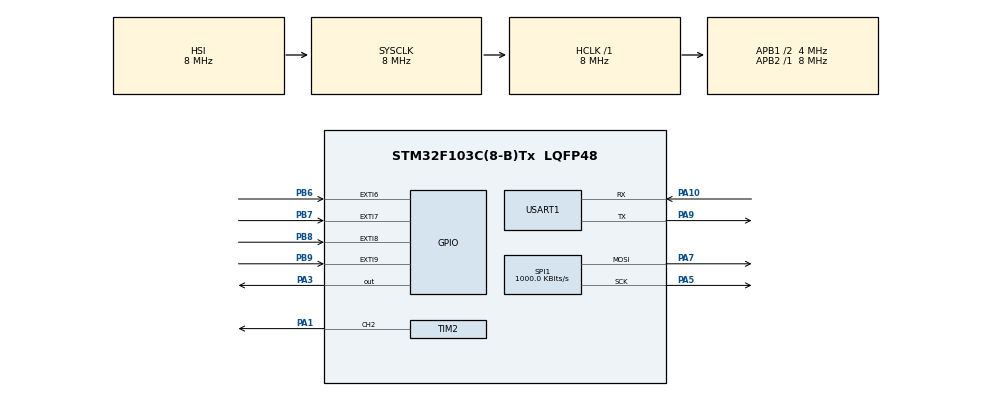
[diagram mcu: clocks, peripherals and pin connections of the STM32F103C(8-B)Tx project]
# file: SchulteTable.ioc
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Mcu.Family=STM32F1
Mcu.Name=STM32F103C(8-B)Tx
Mcu.Package=LQFP48
NVIC.EXTI9_5_IRQn=true\:1\:0\:true\:false\:true\:true\:true\:true
NVIC.PriorityGroup=NVIC_PRIORITYGROUP_4
NVIC.TIM2_IRQn=true\:0\:0\:false\:false\:true\:true\:true\:true
PA1.Signal=S_TIM2_CH2
PA10.Mode=Asynchronous
PA10.Signal=USART1_RX
PA3.Signal=GPIO_Output
PA5.Mode=TX_Only_Simplex_Unidirect_Master
PA5.Signal=SPI1_SCK
PA7.Mode=TX_Only_Simplex_Unidirect_Master
PA7.Signal=SPI1_MOSI
PA9.Mode=Asynchronous
PA9.Signal=USART1_TX
PB6.GPIO_ModeDefaultEXTI=GPIO_MODE_IT_FALLING
PB6.GPIO_PuPd=GPIO_PULLUP
PB6.Signal=GPXTI6
PB7.GPIO_ModeDefaultEXTI=GPIO_MODE_IT_FALLING
PB7.GPIO_PuPd=GPIO_PULLUP
PB7.Signal=GPXTI7
PB8.GPIO_ModeDefaultEXTI=GPIO_MODE_IT_FALLING
PB8.GPIO_PuPd=GPIO_PULLUP
PB8.Signal=GPXTI8
PB9.GPIO_ModeDefaultEXTI=GPIO_MODE_IT_FALLING
PB9.GPIO_PuPd=GPIO_PULLUP
PB9.Signal=GPXTI9
PD0-OSC_IN.Mode=HSE-External-Oscillator
PD0-OSC_IN.Signal=RCC_OSC_IN
PD1-OSC_OUT.Mode=HSE-External-Oscillator
PD1-OSC_OUT.Signal=RCC_OSC_OUT
ProjectManager.HeapSize=0x200
ProjectManager.StackSize=0x400
ProjectManager.TargetToolchain=STM32CubeIDE
RCC.AHBFreq_Value=8000000
RCC.APB1CLKDivider=RCC_HCLK_DIV2
RCC.APB1Freq_Value=4000000
RCC.APB1TimFreq_Value=8000000
RCC.APB2Freq_Value=8000000
RCC.APB2TimFreq_Value=8000000
RCC.HCLKFreq_Value=8000000
RCC.SYSCLKFreq_VALUE=8000000
RCC.USBFreq_Value=8000000
SH.S_TIM2_CH2.0=TIM2_CH2,PWM Generation2 CH2
SPI1.BaudRatePrescaler=SPI_BAUDRATEPRESCALER_8
SPI1.CalculateBaudRate=1000.0 KBits/s
SPI1.Direction=SPI_DIRECTION_2LINES
SPI1.Mode=SPI_MODE_MASTER
SPI1.VirtualType=VM_MASTER
TIM2.Channel-PWM\ Generation2\ CH2=TIM_CHANNEL_2
TIM2.Period=127
TIM2.Prescaler=127
TIM2.Pulse-PWM\ Generation2\ CH2=63
USART1.VirtualMode=VM_ASYNC
VP_SYS_VS_ND.Mode=No_Debug
VP_TIM2_VS_ClockSourceINT.Mode=Internal
board=custom

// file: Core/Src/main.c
/* USER CODE BEGIN Header */
/**
  ******************************************************************************
  * @file           : main.c
  * @brief          : Main program body
  ******************************************************************************
  * @attention
  *
  * Copyright (c) 2023 STMicroelectronics.
  * All rights reserved.
  *
  * This software is licensed under terms that can be found in the LICENSE file
  * in the root directory of this software component.
  * If no LICENSE file comes with this software, it is provided AS-IS.
  *
  ******************************************************************************
  */
/* USER CODE END Header */
#include "main.h"

/* USER CODE BEGIN Includes */
#include "control.h"
#include "ST7735.h"
/* USER CODE END Includes */

 SPI_HandleTypeDef hspi1;

TIM_HandleTypeDef htim2;

UART_HandleTypeDef huart1;

void SystemClock_Config(void);
static void MX_GPIO_Init(void);
static void MX_SPI1_Init(void);
static void MX_USART1_UART_Init(void);
static void MX_TIM2_Init(void);

int main(void)
{

  /* MCU Configuration--------------------------------------------------------*/

  /* Reset of all peripherals, Initializes the Flash interface and the Systick. */
  HAL_Init();

  /* Configure the system clock */
  SystemClock_Config();

  /* Initialize all configured peripherals */
  MX_GPIO_Init();
  MX_SPI1_Init();
  MX_USART1_UART_Init();
  MX_TIM2_Init();
  /* USER CODE BEGIN 2 */
  HAL_NVIC_DisableIRQ(EXTI9_5_IRQn);
  NVIC_SetPriority(SysTick_IRQn, 0);
  ST7735_Init();
  ResetScreen();
  HAL_NVIC_EnableIRQ(EXTI9_5_IRQn);
  /* USER CODE END 2 */

  /* Infinite loop */
  while (1)
  {

  }
}

void SystemClock_Config(void)
{
  RCC_OscInitTypeDef RCC_OscInitStruct = {0};
  RCC_ClkInitTypeDef RCC_ClkInitStruct = {0};

  /** Initializes the RCC Oscillators according to the specified parameters
  * in the RCC_OscInitTypeDef structure.
  */
  RCC_OscInitStruct.OscillatorType = RCC_OSCILLATORTYPE_HSI;
  RCC_OscInitStruct.HSIState = RCC_HSI_ON;
  RCC_OscInitStruct.HSICalibrationValue = RCC_HSICALIBRATION_DEFAULT;
  RCC_OscInitStruct.PLL.PLLState = RCC_PLL_NONE;
  if (HAL_RCC_OscConfig(&RCC_OscInitStruct) != HAL_OK)
  {
    Error_Handler();
  }

  /** Initializes the CPU, AHB and APB buses clocks
  */
  RCC_ClkInitStruct.ClockType = RCC_CLOCKTYPE_HCLK|RCC_CLOCKTYPE_SYSCLK
                              |RCC_CLOCKTYPE_PCLK1|RCC_CLOCKTYPE_PCLK2;
  RCC_ClkInitStruct.SYSCLKSource = RCC_SYSCLKSOURCE_HSI;
  RCC_ClkInitStruct.AHBCLKDivider = RCC_SYSCLK_DIV1;
  RCC_ClkInitStruct.APB1CLKDivider = RCC_HCLK_DIV2;
  RCC_ClkInitStruct.APB2CLKDivider = RCC_HCLK_DIV1;

  if (HAL_RCC_ClockConfig(&RCC_ClkInitStruct, FLASH_LATENCY_0) != HAL_OK)
  {
    Error_Handler();
  }
}

static void MX_SPI1_Init(void)
{

  /* SPI1 parameter configuration*/
  hspi1.Instance = SPI1;
  hspi1.Init.Mode = SPI_MODE_MASTER;
  hspi1.Init.Direction = SPI_DIRECTION_2LINES;
  hspi1.Init.DataSize = SPI_DATASIZE_8BIT;
  hspi1.Init.CLKPolarity = SPI_POLARITY_LOW;
  hspi1.Init.CLKPhase = SPI_PHASE_1EDGE;
  hspi1.Init.NSS = SPI_NSS_SOFT;
  hspi1.Init.BaudRatePrescaler = SPI_BAUDRATEPRESCALER_8;
  hspi1.Init.FirstBit = SPI_FIRSTBIT_MSB;
  hspi1.Init.TIMode = SPI_TIMODE_DISABLE;
  hspi1.Init.CRCCalculation = SPI_CRCCALCULATION_DISABLE;
  hspi1.Init.CRCPolynomial = 10;
  if (HAL_SPI_Init(&hspi1) != HAL_OK)
  {
    Error_Handler();
  }

}

static void MX_TIM2_Init(void)
{

  TIM_ClockConfigTypeDef sClockSourceConfig = {0};
  TIM_MasterConfigTypeDef sMasterConfig = {0};
  TIM_OC_InitTypeDef sConfigOC = {0};

  htim2.Instance = TIM2;
  htim2.Init.Prescaler = 127;
  htim2.Init.CounterMode = TIM_COUNTERMODE_UP;
  htim2.Init.Period = 127;
  htim2.Init.ClockDivision = TIM_CLOCKDIVISION_DIV1;
  htim2.Init.AutoReloadPreload = TIM_AUTORELOAD_PRELOAD_DISABLE;
  if (HAL_TIM_Base_Init(&htim2) != HAL_OK)
  {
    Error_Handler();
  }
  sClockSourceConfig.ClockSource = TIM_CLOCKSOURCE_INTERNAL;
  if (HAL_TIM_ConfigClockSource(&htim2, &sClockSourceConfig) != HAL_OK)
  {
    Error_Handler();
  }
  if (HAL_TIM_PWM_Init(&htim2) != HAL_OK)
  {
    Error_Handler();
  }
  sMasterConfig.MasterOutputTrigger = TIM_TRGO_RESET;
  sMasterConfig.MasterSlaveMode = TIM_MASTERSLAVEMODE_DISABLE;
  if (HAL_TIMEx_MasterConfigSynchronization(&htim2, &sMasterConfig) != HAL_OK)
  {
    Error_Handler();
  }
  sConfigOC.OCMode = TIM_OCMODE_PWM1;
  sConfigOC.Pulse = 63;
  sConfigOC.OCPolarity = TIM_OCPOLARITY_HIGH;
  sConfigOC.OCFastMode = TIM_OCFAST_DISABLE;
  if (HAL_TIM_PWM_ConfigChannel(&htim2, &sConfigOC, TIM_CHANNEL_2) != HAL_OK)
  {
    Error_Handler();
  }
  HAL_TIM_MspPostInit(&htim2);

}

static void MX_USART1_UART_Init(void)
{

  huart1.Instance = USART1;
  huart1.Init.BaudRate = 115200;
  huart1.Init.WordLength = UART_WORDLENGTH_8B;
  huart1.Init.StopBits = UART_STOPBITS_1;
  huart1.Init.Parity = UART_PARITY_NONE;
  huart1.Init.Mode = UART_MODE_TX_RX;
  huart1.Init.HwFlowCtl = UART_HWCONTROL_NONE;
  huart1.Init.OverSampling = UART_OVERSAMPLING_16;
  if (HAL_UART_Init(&huart1) != HAL_OK)
  {
    Error_Handler();
  }

}

static void MX_GPIO_Init(void)
{
  GPIO_InitTypeDef GPIO_InitStruct = {0};

  /* GPIO Ports Clock Enable */
  __HAL_RCC_GPIOD_CLK_ENABLE();
  __HAL_RCC_GPIOA_CLK_ENABLE();
  __HAL_RCC_GPIOB_CLK_ENABLE();

  /*Configure GPIO pin Output Level */
  HAL_GPIO_WritePin(GPIOA, GPIO_PIN_3, GPIO_PIN_RESET);

  /*Configure GPIO pin : PA3 */
  GPIO_InitStruct.Pin = GPIO_PIN_3;
  GPIO_InitStruct.Mode = GPIO_MODE_OUTPUT_PP;
  GPIO_InitStruct.Pull = GPIO_NOPULL;
  GPIO_InitStruct.Speed = GPIO_SPEED_FREQ_LOW;
  HAL_GPIO_Init(GPIOA, &GPIO_InitStruct);

  /*Configure GPIO pins : PB6 PB7 PB8 PB9 */
  GPIO_InitStruct.Pin = GPIO_PIN_6|GPIO_PIN_7|GPIO_PIN_8|GPIO_PIN_9;
  GPIO_InitStruct.Mode = GPIO_MODE_IT_FALLING;
  GPIO_InitStruct.Pull = GPIO_PULLUP;
  HAL_GPIO_Init(GPIOB, &GPIO_InitStruct);

  /* EXTI interrupt init*/
  HAL_NVIC_SetPriority(EXTI9_5_IRQn, 1, 0);
  HAL_NVIC_EnableIRQ(EXTI9_5_IRQn);

}

/* USER CODE BEGIN 4 */

void HAL_GPIO_EXTI_Callback(uint16_t GPIO_Pin)
{
  static int time;
  HAL_NVIC_DisableIRQ(EXTI9_5_IRQn);
  if (HAL_GPIO_ReadPin(GPIOB, GPIO_PIN_6) == 0) {
	if (state == TABLE_SHOWING) {
	  WriteError("Stop to continue");
	} else {
	  IncreaseSize();
	}
  } else if (HAL_GPIO_ReadPin(GPIOB, GPIO_PIN_7) == 0) {
	if (state == TABLE_SHOWING) {
	  WriteError("Stop to continue");
	} else {
		DecreaseSize();
	}
  } else if (HAL_GPIO_ReadPin(GPIOB, GPIO_PIN_8) == 0) {
	if (state == TABLE_SHOWING) {
	  WriteError("Stop to continue");
	} else {
	  ShowTable();
	  time = HAL_GetTick();
	}
  } else if (HAL_GPIO_ReadPin(GPIOB, GPIO_PIN_9) == 0) {
	if (state == CHOSED_SIZE) {
	  WriteError("Start to continue");
	} else {
	  OnStopPressed(time);
	  ResetScreen();
	}
  }
  HAL_NVIC_EnableIRQ(EXTI9_5_IRQn);
}

/* USER CODE END 4 */

void Error_Handler(void)
{
  __disable_irq();
  while (1)
  {
  }
}
